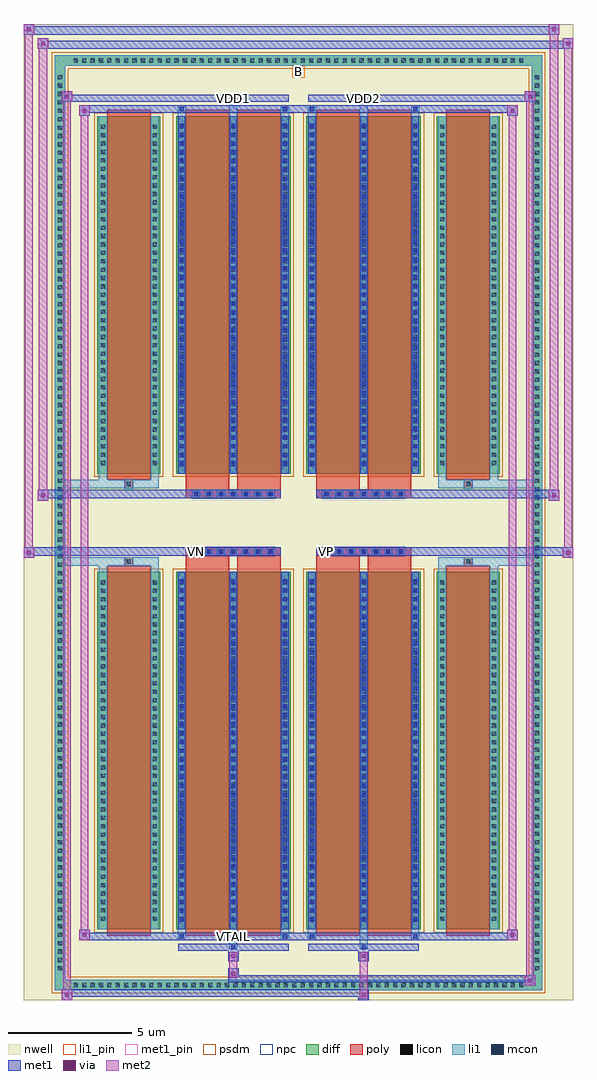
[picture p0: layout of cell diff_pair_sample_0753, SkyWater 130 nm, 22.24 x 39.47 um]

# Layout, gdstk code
import gdstk
lib = gdstk.Library(unit=1e-6, precision=5e-09)
def R(c, l, rs):  # rectangles x0, y0, x1, y1
    for r in rs: c.add(gdstk.rectangle(r[:2], r[2:], *l))
def A(c, l, x, y, w, h, nx, ny, dx, dy):  # array of equal rectangles
    R(c, l, [(x+i*dx, y+j*dy, x+i*dx+w, y+j*dy+h) for i in range(nx) for j in range(ny)])
def P(c, l, *ps):  # polygons
    for p in ps: c.add(gdstk.Polygon(p, *l))
nwell = (64, 20)
diff = (65, 20)
poly = (66, 20)
licon = (66, 44)
li1_pin = (67, 16)
li1 = (67, 20)
mcon = (67, 44)
met1_pin = (68, 16)
met1 = (68, 20)
via = (68, 44)
met2 = (69, 20)
psdm = (94, 20)
npc = (95, 20)

diff_pair_sample_0753 = lib.new_cell('diff_pair_sample_0753')
R(diff_pair_sample_0753, nwell, [(-11.12,-19.3,11.12,20.17), (-8.44,-17.49,-0.01,-0.795), (0.01,-17.49,8.44,-0.795), (-8.44,0.795,-0.01,17.49), (0.01,0.795,8.44,17.49)])
A(diff_pair_sample_0753, diff, -9.215, -18.9, 0.41, 0.41, 54, 2, 0.34, 37.39)
A(diff_pair_sample_0753, diff, -9.85, -18.225, 0.41, 0.41, 1, 107, 0, 0.34)
A(diff_pair_sample_0753, diff, 9.44, -18.225, 0.41, 0.41, 1, 107, 0, 0.34)
R(diff_pair_sample_0753, diff, [(-9.215,-18.9,9.215,-18.49), (-9.85,-18.225,-9.44,18.225), (9.44,-18.225,9.85,18.225), (-8.13,-16.445,-5.59,-1.985), (-4.95,-16.445,-0.32,-1.985), (0.32,-16.445,4.95,-1.985), (5.59,-16.445,8.13,-1.985), (-8.13,1.985,-5.59,16.445), (-4.95,1.985,-0.32,16.445), (0.32,1.985,4.95,16.445), (5.59,1.985,8.13,16.445), (-9.215,18.49,9.215,18.9)])
P(diff_pair_sample_0753, diff, [(9.85,18.9),(-9.85,18.9),(-9.85,-18.49),(-9.44,-18.49),(-9.44,18.49),(9.44,18.49),(9.44,-18.49),(-9.44,-18.49),(-9.85,-18.49),(-9.85,-18.9),(9.85,-18.9)])
A(diff_pair_sample_0753, poly, -4.3, -1.325, 0.33, 0.33, 7, 2, 0.5, 2.32)
A(diff_pair_sample_0753, poly, 0.97, -1.325, 0.33, 0.33, 7, 2, 0.5, 2.32)
R(diff_pair_sample_0753, poly, [(-7.74,-16.695,-5.98,-1.735), (-4.56,-16.695,-2.8,-1.735), (-2.47,-16.695,-0.71,-1.735), (0.71,-16.695,2.47,-1.735), (2.8,-16.695,4.56,-1.735), (5.98,-16.695,7.74,-1.735), (-7.025,-1.735,-6.695,-1.405), (-7.025,-1.735,-6.695,-1.405), (-4.56,-1.735,-2.8,-1.325), (-2.47,-1.735,-0.71,-1.325), (0.71,-1.735,2.47,-1.325), (2.8,-1.735,4.56,-1.325), (6.695,-1.735,7.025,-1.405), (6.695,-1.735,7.025,-1.405), (-4.56,-1.325,-0.71,-0.995), (0.71,-1.325,4.56,-0.995), (-4.56,0.995,-0.71,1.325), (0.71,0.995,4.56,1.325), (-4.56,1.325,-2.8,1.735), (-2.47,1.325,-0.71,1.735), (0.71,1.325,2.47,1.735), (2.8,1.325,4.56,1.735), (-7.025,1.405,-6.695,1.735), (-7.025,1.405,-6.695,1.735), (6.695,1.405,7.025,1.735), (6.695,1.405,7.025,1.735), (-7.74,1.735,-5.98,16.695), (-4.56,1.735,-2.8,16.695), (-2.47,1.735,-0.71,16.695), (0.71,1.735,2.47,16.695), (2.8,1.735,4.56,16.695), (5.98,1.735,7.74,16.695)])
A(diff_pair_sample_0753, licon, -9.095, -18.78, 0.17, 0.17, 54, 2, 0.34, 37.39)
A(diff_pair_sample_0753, licon, -9.73, -18.105, 0.17, 0.17, 1, 107, 0, 0.34)
A(diff_pair_sample_0753, licon, 9.56, -18.105, 0.17, 0.17, 1, 107, 0, 0.34)
A(diff_pair_sample_0753, licon, -7.99, -16.1, 0.17, 0.17, 1, 41, 0, 0.34)
A(diff_pair_sample_0753, licon, -5.9, -16.1, 0.17, 0.17, 1, 41, 0, 0.34)
A(diff_pair_sample_0753, licon, -4.81, -16.1, 0.17, 0.17, 3, 41, 2.09, 0.34)
A(diff_pair_sample_0753, licon, 0.46, -16.1, 0.17, 0.17, 3, 41, 2.09, 0.34)
A(diff_pair_sample_0753, licon, 5.73, -16.1, 0.17, 0.17, 1, 41, 0, 0.34)
A(diff_pair_sample_0753, licon, 7.82, -16.1, 0.17, 0.17, 1, 41, 0, 0.34)
A(diff_pair_sample_0753, licon, -4.22, -1.245, 0.17, 0.17, 7, 2, 0.5, 2.32)
A(diff_pair_sample_0753, licon, 1.05, -1.245, 0.17, 0.17, 7, 2, 0.5, 2.32)
A(diff_pair_sample_0753, licon, -7.99, 2.33, 0.17, 0.17, 1, 41, 0, 0.34)
A(diff_pair_sample_0753, licon, -5.9, 2.33, 0.17, 0.17, 1, 41, 0, 0.34)
A(diff_pair_sample_0753, licon, -4.81, 2.33, 0.17, 0.17, 3, 41, 2.09, 0.34)
A(diff_pair_sample_0753, licon, 0.46, 2.33, 0.17, 0.17, 3, 41, 2.09, 0.34)
A(diff_pair_sample_0753, licon, 5.73, 2.33, 0.17, 0.17, 1, 41, 0, 0.34)
A(diff_pair_sample_0753, licon, 7.82, 2.33, 0.17, 0.17, 1, 41, 0, 0.34)
R(diff_pair_sample_0753, licon, [(-6.945,-1.655,-6.775,-1.485), (6.775,-1.655,6.945,-1.485), (-6.945,1.485,-6.775,1.655), (6.775,1.485,6.945,1.655)])
R(diff_pair_sample_0753, li1_pin, [(-0.25,17.99,0.25,18.49)])
A(diff_pair_sample_0753, li1, -9.175, -18.86, 0.33, 0.33, 54, 2, 0.34, 37.39)
A(diff_pair_sample_0753, li1, -9.81, -18.185, 0.33, 0.33, 1, 107, 0, 0.34)
A(diff_pair_sample_0753, li1, 9.48, -18.185, 0.33, 0.33, 1, 107, 0, 0.34)
A(diff_pair_sample_0753, li1, -4.89, -16.445, 0.33, 14.46, 3, 2, 2.09, 18.43)
A(diff_pair_sample_0753, li1, 0.38, -16.445, 0.33, 14.46, 3, 2, 2.09, 18.43)
A(diff_pair_sample_0753, li1, -8.07, -16.18, 0.33, 0.33, 1, 41, 0, 0.34)
A(diff_pair_sample_0753, li1, -5.98, -16.18, 0.33, 0.33, 1, 41, 0, 0.34)
A(diff_pair_sample_0753, li1, -4.89, -16.18, 0.33, 0.33, 3, 41, 2.09, 0.34)
A(diff_pair_sample_0753, li1, 0.38, -16.18, 0.33, 0.33, 3, 41, 2.09, 0.34)
A(diff_pair_sample_0753, li1, 5.65, -16.18, 0.33, 0.33, 1, 41, 0, 0.34)
A(diff_pair_sample_0753, li1, 7.74, -16.18, 0.33, 0.33, 1, 41, 0, 0.34)
A(diff_pair_sample_0753, li1, -4.81, -16.14, 0.17, 0.17, 3, 39, 2.09, 0.36)
A(diff_pair_sample_0753, li1, -4.81, -16.14, 0.17, 13.85, 3, 2, 2.09, 18.43)
A(diff_pair_sample_0753, li1, 0.46, -16.14, 0.17, 0.17, 3, 39, 2.09, 0.36)
A(diff_pair_sample_0753, li1, 0.46, -16.14, 0.17, 13.85, 3, 2, 2.09, 18.43)
A(diff_pair_sample_0753, li1, -4.3, -1.325, 0.33, 0.33, 7, 2, 0.5, 2.32)
A(diff_pair_sample_0753, li1, 0.97, -1.325, 0.33, 0.33, 7, 2, 0.5, 2.32)
A(diff_pair_sample_0753, li1, -8.07, 2.25, 0.33, 0.33, 1, 41, 0, 0.34)
A(diff_pair_sample_0753, li1, -5.98, 2.25, 0.33, 0.33, 1, 41, 0, 0.34)
A(diff_pair_sample_0753, li1, -4.89, 2.25, 0.33, 0.33, 3, 41, 2.09, 0.34)
A(diff_pair_sample_0753, li1, 0.38, 2.25, 0.33, 0.33, 3, 41, 2.09, 0.34)
A(diff_pair_sample_0753, li1, 5.65, 2.25, 0.33, 0.33, 1, 41, 0, 0.34)
A(diff_pair_sample_0753, li1, 7.74, 2.25, 0.33, 0.33, 1, 41, 0, 0.34)
A(diff_pair_sample_0753, li1, -4.81, 2.29, 0.17, 0.17, 3, 39, 2.09, 0.36)
A(diff_pair_sample_0753, li1, 0.46, 2.29, 0.17, 0.17, 3, 39, 2.09, 0.36)
R(diff_pair_sample_0753, li1, [(-9.85,-18.9,-9.44,-18.49), (-9.85,-18.9,-9.44,-18.49), (-9.44,-18.9,9.44,-18.49), (9.44,-18.9,9.85,-18.49), (9.44,-18.9,9.85,-18.49), (-9.85,-18.49,-9.44,18.49), (9.44,-18.49,9.85,18.49), (-2.8,-17.25,-2.47,-16.445), (-2.72,-17.25,-2.55,-17.08), (2.47,-17.25,2.8,-16.445), (2.55,-17.25,2.72,-17.08), (-4.89,-16.82,-4.56,-16.445), (-4.81,-16.82,-4.64,-16.65), (-0.71,-16.82,-0.38,-16.445), (-0.63,-16.82,-0.46,-16.65), (0.38,-16.82,0.71,-16.445), (0.46,-16.82,0.63,-16.65), (4.56,-16.82,4.89,-16.445), (4.64,-16.82,4.81,-16.65), (-8.07,-16.445,-7.74,-1.985), (-5.98,-16.445,-5.65,-1.985), (5.65,-16.445,5.98,-1.985), (7.74,-16.445,8.07,-1.985), (-8.07,-1.985,-7.74,-1.405), (-5.98,-1.985,-5.65,-1.405), (5.65,-1.985,5.98,-1.405), (7.74,-1.985,8.07,-1.405), (-9.85,-1.735,-7.025,-1.405), (-8.07,-1.735,-7.025,-1.405), (-7.025,-1.735,-6.695,-1.405), (-6.695,-1.735,-5.65,-1.405), (5.65,-1.735,6.695,-1.405), (6.695,-1.735,7.025,-1.405), (6.695,-1.735,9.85,-1.405), (7.025,-1.735,8.07,-1.405), (-9.85,1.405,-7.025,1.735), (-8.07,1.405,-7.025,1.735), (-8.07,1.405,-7.74,1.985), (-7.025,1.405,-6.695,1.735), (-6.695,1.405,-5.65,1.735), (-5.98,1.405,-5.65,1.985), (5.65,1.405,6.695,1.735), (5.65,1.405,5.98,1.985), (6.695,1.405,7.025,1.735), (6.695,1.405,9.85,1.735), (7.025,1.405,8.07,1.735), (7.74,1.405,8.07,1.985), (-8.07,1.985,-7.74,16.445), (-5.98,1.985,-5.65,16.445), (5.65,1.985,5.98,16.445), (7.74,1.985,8.07,16.445), (-4.89,16.445,-4.56,16.82), (-2.8,16.445,-2.47,17.25), (-0.71,16.445,-0.38,16.82), (0.38,16.445,0.71,16.82), (2.47,16.445,2.8,17.25), (4.56,16.445,4.89,16.82), (-4.81,16.65,-4.64,16.82), (-0.63,16.65,-0.46,16.82), (0.46,16.65,0.63,16.82), (4.64,16.65,4.81,16.82), (-2.72,17.08,-2.55,17.25), (2.55,17.08,2.72,17.25), (-9.85,18.49,-9.44,18.9), (-9.85,18.49,-9.44,18.9), (-9.44,18.49,9.44,18.9), (9.44,18.49,9.85,18.9), (9.44,18.49,9.85,18.9)])
A(diff_pair_sample_0753, mcon, -4.81, -16.14, 0.17, 0.17, 3, 39, 2.09, 0.36)
A(diff_pair_sample_0753, mcon, 0.46, -16.14, 0.17, 0.17, 3, 39, 2.09, 0.36)
A(diff_pair_sample_0753, mcon, -4.22, -1.245, 0.17, 0.17, 7, 2, 0.5, 2.32)
A(diff_pair_sample_0753, mcon, 1.05, -1.245, 0.17, 0.17, 7, 2, 0.5, 2.32)
A(diff_pair_sample_0753, mcon, -4.81, 2.29, 0.17, 0.17, 3, 39, 2.09, 0.36)
A(diff_pair_sample_0753, mcon, 0.46, 2.29, 0.17, 0.17, 3, 39, 2.09, 0.36)
R(diff_pair_sample_0753, mcon, [(-2.72,-17.25,-2.55,-17.08), (2.55,-17.25,2.72,-17.08), (-4.81,-16.82,-4.64,-16.65), (-0.63,-16.82,-0.46,-16.65), (0.46,-16.82,0.63,-16.65), (4.64,-16.82,4.81,-16.65), (-4.81,16.65,-4.64,16.82), (-0.63,16.65,-0.46,16.82), (0.46,16.65,0.63,16.82), (4.64,16.65,4.81,16.82), (-2.72,17.08,-2.55,17.25), (2.55,17.08,2.72,17.25)])
R(diff_pair_sample_0753, met1_pin, [(-2.77,-16.86,-2.5,-16.59), (-4.27,-1.285,-4,-1.015), (1,-1.285,1.27,-1.015), (-2.77,17.04,-2.5,17.31), (2.5,17.04,2.77,17.31)])
A(diff_pair_sample_0753, met1, -4.87, -16.445, 0.29, 14.46, 3, 2, 2.09, 18.43)
A(diff_pair_sample_0753, met1, 0.4, -16.445, 0.29, 14.46, 3, 2, 2.09, 18.43)
A(diff_pair_sample_0753, met1, -4.87, -16.2, 0.29, 0.29, 3, 39, 2.09, 0.36)
A(diff_pair_sample_0753, met1, 0.4, -16.2, 0.29, 0.29, 3, 39, 2.09, 0.36)
A(diff_pair_sample_0753, met1, -4.28, -1.305, 0.29, 0.29, 7, 2, 0.5, 2.32)
A(diff_pair_sample_0753, met1, 0.99, -1.305, 0.29, 0.29, 7, 2, 0.5, 2.32)
A(diff_pair_sample_0753, met1, -4.87, 2.23, 0.29, 0.29, 3, 39, 2.09, 0.36)
A(diff_pair_sample_0753, met1, 0.4, 2.23, 0.29, 0.29, 3, 39, 2.09, 0.36)
R(diff_pair_sample_0753, met1, [(-9.58,-19.3,-9.15,-18.87), (2.42,-19.3,2.85,-18.87), (-9.58,-19.16,2.85,-18.87), (9.15,-18.73,9.58,-18.3), (-2.85,-18.59,9.58,-18.3), (-2.85,-18.45,-2.42,-18.02), (-2.85,-17.74,-2.42,-17.31), (2.42,-17.74,2.85,-17.31), (-4.87,-17.31,-0.4,-17.02), (-2.78,-17.31,-2.49,-17.02), (0.4,-17.31,4.87,-17.02), (2.49,-17.31,2.78,-17.02), (-8.87,-16.88,-8.44,-16.45), (-8.87,-16.88,-4.87,-16.59), (-4.87,-16.88,-4.58,-16.59), (-4.87,-16.88,-0.4,-16.59), (-0.69,-16.88,-0.4,-16.59), (-0.4,-16.88,0.4,-16.59), (0.4,-16.88,0.69,-16.59), (0.4,-16.88,4.87,-16.59), (4.58,-16.88,4.87,-16.59), (4.87,-16.88,8.87,-16.59), (8.44,-16.88,8.87,-16.45), (-11.12,-1.425,-10.69,-0.995), (10.69,-1.425,11.12,-0.995), (-11.12,-1.325,-0.71,-0.995), (-4.56,-1.325,-0.71,-0.995), (0.71,-1.325,4.56,-0.995), (0.71,-1.325,11.12,-0.995), (-10.55,0.895,-10.12,1.325), (10.12,0.895,10.55,1.325), (-10.55,0.995,-4.56,1.325), (-4.56,0.995,-0.71,1.325), (0.71,0.995,4.56,1.325), (4.56,0.995,10.55,1.325), (-8.87,16.45,-8.44,16.88), (8.44,16.45,8.87,16.88), (-8.87,16.59,-4.87,16.88), (-4.87,16.59,-4.58,16.88), (-4.87,16.59,-0.4,16.88), (-0.69,16.59,-0.4,16.88), (-0.4,16.59,0.4,16.88), (0.4,16.59,0.69,16.88), (0.4,16.59,4.87,16.88), (4.58,16.59,4.87,16.88), (4.87,16.59,8.87,16.88), (-9.58,17.02,-9.15,17.45), (-9.58,17.02,-4.87,17.31), (-4.87,17.02,-0.4,17.31), (-2.78,17.02,-2.49,17.31), (0.4,17.02,4.87,17.31), (2.49,17.02,2.78,17.31), (4.87,17.02,9.58,17.31), (9.15,17.02,9.58,17.45), (-10.55,19.17,-10.12,19.6), (-10.55,19.17,-8.44,19.5), (-8.44,19.17,8.44,19.5), (8.44,19.17,11.12,19.5), (10.69,19.17,11.12,19.6), (-11.12,19.74,-10.69,20.17), (-11.12,19.74,-8.44,20.07), (-8.44,19.74,8.44,20.07), (8.44,19.74,10.55,20.07), (10.12,19.74,10.55,20.17)])
R(diff_pair_sample_0753, via, [(-9.44,-19.16,-9.29,-19.01), (2.56,-19.16,2.71,-19.01), (9.29,-18.59,9.44,-18.44), (-2.71,-18.31,-2.56,-18.16), (-2.71,-17.6,-2.56,-17.45), (2.56,-17.6,2.71,-17.45), (-8.73,-16.74,-8.58,-16.59), (8.58,-16.74,8.73,-16.59), (-10.98,-1.285,-10.83,-1.135), (10.83,-1.285,10.98,-1.135), (-10.41,1.035,-10.26,1.185), (10.26,1.035,10.41,1.185), (-8.73,16.59,-8.58,16.74), (8.58,16.59,8.73,16.74), (-9.44,17.16,-9.29,17.31), (9.29,17.16,9.44,17.31), (-10.41,19.31,-10.26,19.46), (10.83,19.31,10.98,19.46), (-10.98,19.88,-10.83,20.03), (10.26,19.88,10.41,20.03)])
R(diff_pair_sample_0753, met2, [(-9.58,-19.3,-9.15,-18.87), (-9.51,-19.3,-9.22,17.45), (-9.22,-19.3,-9.15,-18.87), (-9.53,-19.25,-9.2,-18.92), (2.47,-19.25,2.8,-18.92), (2.47,-18.92,2.8,-17.69), (9.15,-18.73,9.58,-18.3), (9.22,-18.73,9.51,17.45), (9.51,-18.73,9.58,-18.3), (9.2,-18.68,9.53,-18.35), (-2.8,-18.4,-2.47,-18.07), (-2.8,-18.07,-2.47,-17.69), (-2.8,-17.69,-2.47,-17.36), (2.47,-17.69,2.8,-17.36), (-8.87,-16.88,-8.44,-16.45), (-8.8,-16.88,-8.51,16.88), (-8.51,-16.88,-8.44,-16.45), (8.44,-16.88,8.87,-16.45), (8.51,-16.88,8.8,16.88), (8.8,-16.88,8.87,-16.45), (-8.82,-16.83,-8.49,-16.5), (8.49,-16.83,8.82,-16.5), (-11.12,-1.425,-10.69,-0.995), (-11.07,-1.425,-10.74,20.17), (-10.74,-1.425,-10.69,-0.995), (10.69,-1.425,11.12,-0.995), (10.74,-1.425,11.07,19.6), (11.07,-1.425,11.12,-0.995), (-11.07,-1.375,-10.74,-1.045), (10.74,-1.375,11.07,-1.045), (-10.55,0.895,-10.12,1.325), (-10.5,0.895,-10.17,19.6), (-10.17,0.895,-10.12,1.325), (10.12,0.895,10.55,1.325), (10.17,0.895,10.5,20.17), (10.5,0.895,10.55,1.325), (-10.5,0.945,-10.17,1.275), (10.17,0.945,10.5,1.275), (-8.87,16.45,-8.44,16.88), (-8.51,16.45,-8.44,16.88), (8.44,16.45,8.87,16.88), (8.8,16.45,8.87,16.88), (-8.82,16.5,-8.49,16.83), (8.49,16.5,8.82,16.83), (-9.58,17.02,-9.15,17.45), (-9.22,17.02,-9.15,17.45), (9.15,17.02,9.58,17.45), (9.51,17.02,9.58,17.45), (-9.53,17.07,-9.2,17.4), (9.2,17.07,9.53,17.4), (-10.55,19.17,-10.12,19.6), (-10.17,19.17,-10.12,19.6), (10.69,19.17,11.12,19.6), (11.07,19.17,11.12,19.6), (-10.5,19.22,-10.17,19.55), (10.74,19.22,11.07,19.55), (-11.12,19.74,-10.69,20.17), (-10.74,19.74,-10.69,20.17), (10.12,19.74,10.55,20.17), (10.5,19.74,10.55,20.17), (-11.07,19.79,-10.74,20.12), (10.17,19.79,10.5,20.12)])
R(diff_pair_sample_0753, psdm, [(-8.26,-16.575,-5.46,-1.855), (-5.08,-16.575,-0.19,-1.855), (0.19,-16.575,5.08,-1.855), (5.46,-16.575,8.26,-1.855), (-8.26,1.855,-5.46,16.575), (-5.08,1.855,-0.19,16.575), (0.19,1.855,5.08,16.575), (5.46,1.855,8.26,16.575)])
P(diff_pair_sample_0753, psdm, [(9.98,19.03),(-9.98,19.03),(-9.98,-18.36),(-9.31,-18.36),(-9.31,18.36),(9.31,18.36),(9.31,-18.36),(-9.31,-18.36),(-9.98,-18.36),(-9.98,-19.03),(9.98,-19.03)])
A(diff_pair_sample_0753, npc, -4.32, -1.345, 0.37, 0.37, 7, 2, 0.5, 2.32)
A(diff_pair_sample_0753, npc, 0.95, -1.345, 0.37, 0.37, 7, 2, 0.5, 2.32)
R(diff_pair_sample_0753, npc, [(-7.045,-1.755,-6.675,-1.385), (6.675,-1.755,7.045,-1.385), (-4.32,-1.345,-3.45,-0.975), (-4.32,-1.345,-3.45,-0.975), (-3.82,-1.345,-2.95,-0.975), (-3.82,-1.345,-2.95,-0.975), (-3.32,-1.345,-2.45,-0.975), (-3.32,-1.345,-2.45,-0.975), (-2.82,-1.345,-1.95,-0.975), (-2.82,-1.345,-1.95,-0.975), (-2.32,-1.345,-1.45,-0.975), (-2.32,-1.345,-1.45,-0.975), (-1.82,-1.345,-0.95,-0.975), (-1.82,-1.345,-0.95,-0.975), (0.95,-1.345,1.82,-0.975), (0.95,-1.345,1.82,-0.975), (1.45,-1.345,2.32,-0.975), (1.45,-1.345,2.32,-0.975), (1.95,-1.345,2.82,-0.975), (1.95,-1.345,2.82,-0.975), (2.45,-1.345,3.32,-0.975), (2.45,-1.345,3.32,-0.975), (2.95,-1.345,3.82,-0.975), (2.95,-1.345,3.82,-0.975), (3.45,-1.345,4.32,-0.975), (3.45,-1.345,4.32,-0.975), (-4.32,0.975,-3.45,1.345), (-4.32,0.975,-3.45,1.345), (-3.82,0.975,-2.95,1.345), (-3.82,0.975,-2.95,1.345), (-3.32,0.975,-2.45,1.345), (-3.32,0.975,-2.45,1.345), (-2.82,0.975,-1.95,1.345), (-2.82,0.975,-1.95,1.345), (-2.32,0.975,-1.45,1.345), (-2.32,0.975,-1.45,1.345), (-1.82,0.975,-0.95,1.345), (-1.82,0.975,-0.95,1.345), (0.95,0.975,1.82,1.345), (0.95,0.975,1.82,1.345), (1.45,0.975,2.32,1.345), (1.45,0.975,2.32,1.345), (1.95,0.975,2.82,1.345), (1.95,0.975,2.82,1.345), (2.45,0.975,3.32,1.345), (2.45,0.975,3.32,1.345), (2.95,0.975,3.82,1.345), (2.95,0.975,3.82,1.345), (3.45,0.975,4.32,1.345), (3.45,0.975,4.32,1.345), (-7.045,1.385,-6.675,1.755), (6.675,1.385,7.045,1.755)])
diff_pair_sample_0753.add(gdstk.Label('VTAIL', (-2.635,-16.725), layer=68, texttype=5))
diff_pair_sample_0753.add(gdstk.Label('VN', (-4.135,-1.15), layer=68, texttype=5))
diff_pair_sample_0753.add(gdstk.Label('VP', (1.135,-1.15), layer=68, texttype=5))
diff_pair_sample_0753.add(gdstk.Label('B', (0,18.24), layer=67, texttype=5))
diff_pair_sample_0753.add(gdstk.Label('VDD2', (2.635,17.175), layer=68, texttype=5))
diff_pair_sample_0753.add(gdstk.Label('VDD1', (-2.635,17.175), layer=68, texttype=5))

lib.write_gds('diff_pair_sample_0753.gds')
